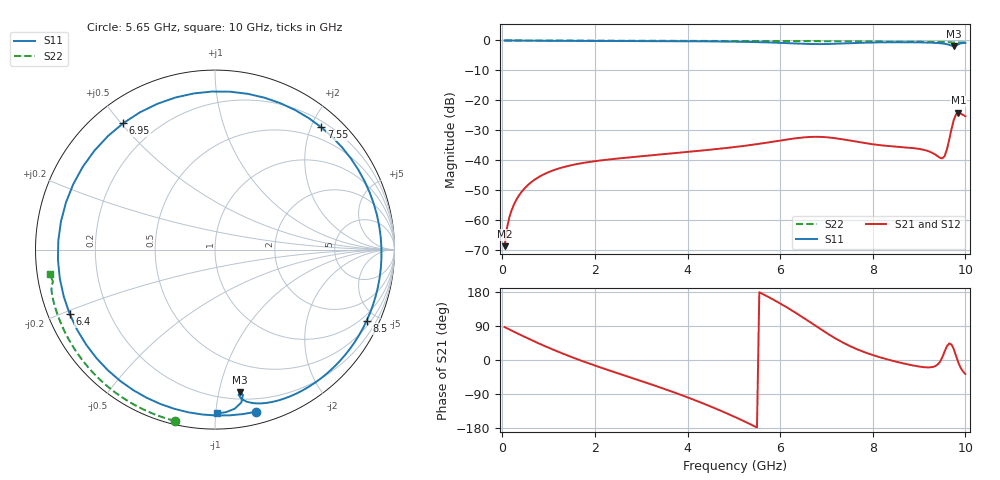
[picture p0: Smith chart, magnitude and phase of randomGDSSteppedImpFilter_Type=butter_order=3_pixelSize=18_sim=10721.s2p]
! freq	dB(S11)	phase(S11)	dB(S12)	phase(S12)
!  dB(S21)	phase(S21)	dB(S22)	phase(S22)
!S-par simulation data
#  GHz  S  DB  R 50
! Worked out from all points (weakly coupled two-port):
!   200 points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, 50 MHz to 10 GHz, reference 50 ohm
!   highest |S21| = -24.14 dB at 9.85 GHz (marker M1); lowest = -68.7 dB at 50 MHz (marker M2)
!   lowest |S11| = -1.9 dB at 9.75 GHz (marker M3), VSWR 9.28, Z = 12.8 - j57.8 ohm
!   |S11| at or under -10 dB: nowhere
!   |S22| runs from -0.7 to 0.0 dB; largest |S21 - S12| = 0
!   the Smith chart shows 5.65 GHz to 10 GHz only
!   S11 on the Smith chart (normalised r, x): 5.65 GHz: 0.09, -1.28; 6.4 GHz: 0.06, -0.21; 6.95 GHz: 0.09, +0.51; 7.55 GHz: 0.29, +2.16; 8.5 GHz: 0.71, -4.38; 10 GHz: 0.09, -1.01
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0.05  -0.00 -5.1  -68.65 86.8  -68.65 86.8  -0.00 -1.0
0.15  -0.02 -15.3  -59.16 80.7  -59.16 80.7  -0.00 -3.0
0.3  -0.04 -30.3  -53.26 71.8  -53.26 71.8  -0.01 -6.0
0.85  -0.10 -82.8  -45.04 40.4  -45.04 40.4  -0.02 -16.8
1.75  -0.16 -157.6  -40.86 -3.7  -40.86 -3.7  -0.04 -34.3
2.45  -0.18 151.5  -39.47 -33.2  -39.47 -33.2  -0.06 -47.6
3.4  -0.23 86.3  -38.07 -72.0  -38.07 -72.0  -0.09 -64.9
4.3  -0.30 25.2  -36.75 -112.8  -36.75 -112.8  -0.12 -80.7
5.05  -0.42 -27.8  -35.51 -151.9  -35.51 -151.9  -0.15 -93.3
5.65  -0.61 -75.9  -34.26 172.5  -34.26 172.5  -0.17 -103.2
6.05  -0.83 -114.8  -33.29 145.7  -33.29 145.7  -0.20 -109.6
6.4  -1.06 -156.2  -32.53 119.5  -32.53 119.5  -0.22 -115.1
6.7  -1.20 162.4  -32.18 95.5  -32.18 95.5  -0.24 -119.9
6.95  -1.21 126.0  -32.24 75.3  -32.24 75.3  -0.25 -123.8
7.25  -1.07 84.5  -32.75 53.0  -32.75 53.0  -0.27 -128.4
7.55  -0.89 49.0  -33.53 34.3  -33.53 34.3  -0.30 -133.1
8.35  -0.61 -16.2  -35.24 0.5  -35.24 0.5  -0.37 -145.5
8.5  -0.60 -25.1  -35.43 -4.3  -35.43 -4.3  -0.39 -147.9
9.5  -0.99 -73.9  -39.36 6.5  -39.36 6.5  -0.51 -164.1
9.75  -1.88 -80.1  -26.48 28.7  -26.48 28.7  -0.68 -168.4
9.85  -1.26 -80.2  -24.14 -7.6  -24.14 -7.6  -0.71 -169.3
10  -0.79 -89.1  -25.31 -36.8  -25.31 -36.8  -0.65 -171.7
